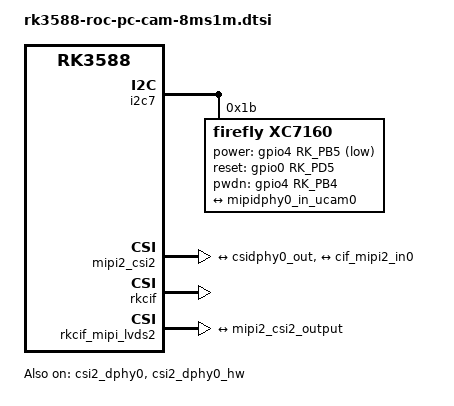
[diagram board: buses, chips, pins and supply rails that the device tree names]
// SPDX-License-Identifier: (GPL-2.0+ OR MIT)
/*
 * Copyright (c) 2021 Rockchip Electronics Co., Ltd.
 *
 */

/ {
	cam_ircut0: cam_ircut {
		status = "disabled";
		compatible = "rockchip,ircut";
		ircut-open-gpios = <&gpio4 RK_PA6 GPIO_ACTIVE_HIGH>;
		ircut-close-gpios  = <&gpio4 RK_PA7 GPIO_ACTIVE_HIGH>;
		rockchip,camera-module-index = <0>;
		rockchip,camera-module-facing = "back";
	};
	vcc_mipidphy0: vcc-mipidcphy0-regulator {
		status = "disabled";
		compatible = "regulator-fixed";
		gpio = <&gpio1 RK_PB1 GPIO_ACTIVE_HIGH>;
		pinctrl-names = "default";
		pinctrl-0 = <&mipidphy0_pwr>;
		regulator-name = "vcc_mipidphy0";
		enable-active-high;
	};
};

&csi2_dphy0 {
	status = "okay";

	ports {
		#address-cells = <1>;
		#size-cells = <0>;
		port@0 {
			reg = <0>;
			#address-cells = <1>;
			#size-cells = <0>;

			mipidphy0_in_ucam0: endpoint@1 {
				reg = <1>;
				remote-endpoint = <&xc7160_out0>;
				data-lanes = <1 2 3 4>;
			};
		};
		port@1 {
			reg = <1>;
			#address-cells = <1>;
			#size-cells = <0>;

			csidphy0_out: endpoint@0 {
				reg = <0>;
				remote-endpoint = <&mipi2_csi2_input>;
			};
		};
	};
};

&csi2_dphy0_hw {
	status = "okay";
};

&i2c7 {
        status = "okay";
        pinctrl-names = "default";
	pinctrl-0 = <&i2c7m2_xfer>;

        XC7160: XC7160b@1b{
               compatible = "firefly,xc7160";
               reg = <0x1b>;
	       clocks = <&cru CLK_MIPI_CAMARAOUT_M1>;
               clock-names = "xvclk";
               pinctrl-names = "default";
	       pinctrl-0 = <&mipim1_camera1_clk>;
               power-domains = <&power RK3588_PD_VI>;

               power-gpios = <&gpio4 RK_PB5 GPIO_ACTIVE_LOW>;
               reset-gpios = <&gpio0 RK_PD5 GPIO_ACTIVE_HIGH>;
               pwdn-gpios = <&gpio4 RK_PB4 GPIO_ACTIVE_HIGH>;

               //avdd-supply = <&vcc_mipidcphy0>;
               firefly,clkout-enabled-index = <0>;
               rockchip,camera-module-index = <0>;
               rockchip,camera-module-facing = "back";
               rockchip,camera-module-name = "NC";
               rockchip,camera-module-lens-name = "NC";
               port {
                        xc7160_out0: endpoint {
                               remote-endpoint = <&mipidphy0_in_ucam0>;
                               data-lanes = <1 2 3 4>;
                       };
               };
       };

};

&mipi2_csi2 {
	status = "okay";

	ports {
		#address-cells = <1>;
		#size-cells = <0>;

		port@0 {
			reg = <0>;
			#address-cells = <1>;
			#size-cells = <0>;

			mipi2_csi2_input: endpoint@1 {
				reg = <1>;
				remote-endpoint = <&csidphy0_out>;
			};
		};

		port@1 {
			reg = <1>;
			#address-cells = <1>;
			#size-cells = <0>;

			mipi2_csi2_output: endpoint@0 {
				reg = <0>;
				remote-endpoint = <&cif_mipi2_in0>;
			};
		};
	};
};

&pinctrl {
	cam {
		mipidphy0_pwr: mipidphy0-pwr {
			rockchip,pins =
				/* camera power en */
				<1 RK_PB1 RK_FUNC_GPIO &pcfg_pull_none>;
		};
	};
};

&rkcif {
	status = "okay";
//	memory-region = <&cif_reserved>;
};

&rkcif_mipi_lvds2 {
	status = "okay";

	port {
		cif_mipi2_in0: endpoint {
			remote-endpoint = <&mipi2_csi2_output>;
		};
	};
};

&rkcif_mipi_lvds2_sditf {
	status = "disabled";

	port {
		mipi_lvds2_sditf: endpoint {
			remote-endpoint = <&isp0_vir0>;
		};
	};
};

&rkcif_mmu {
	status = "okay";
};

&rkisp0 {
	status = "disabled";
};

&isp0_mmu {
	status = "disabled";
};

&rkisp0_vir0 {
	status = "disabled";

	port {
		#address-cells = <1>;
		#size-cells = <0>;

		isp0_vir0: endpoint@0 {
			reg = <0>;
			remote-endpoint = <&mipi_lvds2_sditf>;
		};
	};
};
